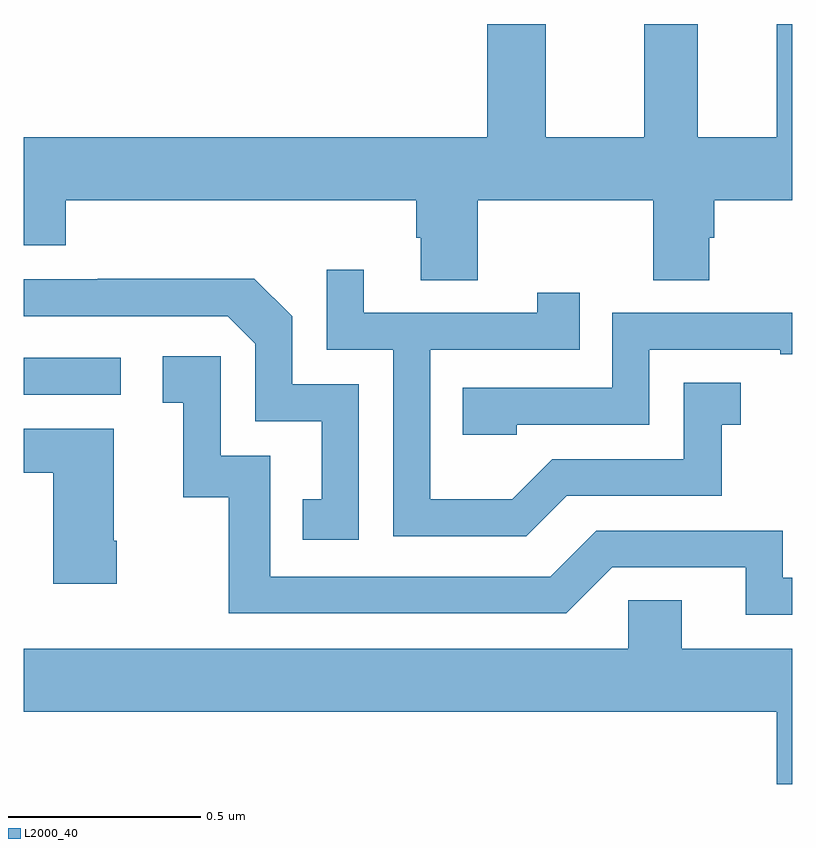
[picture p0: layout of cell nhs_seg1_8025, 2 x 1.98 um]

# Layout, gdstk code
import gdstk
lib = gdstk.Library(unit=1e-6, precision=1e-09)
def R(c, l, rs):  # rectangles x0, y0, x1, y1
    for r in rs: c.add(gdstk.rectangle(r[:2], r[2:], *l))
def P(c, l, *ps):  # polygons
    for p in ps: c.add(gdstk.Polygon(p, *l))
L2000_40 = (2000, 40)

nhs_seg1_8025 = lib.new_cell('nhs_seg1_8025')
R(nhs_seg1_8025, L2000_40, [(211,543.234,211.252,543.33)])
P(nhs_seg1_8025, L2000_40, [(212.181,543.74),(212.638,543.74),(212.638,543.532),(212.785,543.532),(212.785,543.642),(212.798,543.642),(212.798,543.74),(213,543.74),(213,544.199),(212.96,544.199),(212.96,543.904),(212.755,543.904),(212.755,544.199),(212.615,544.199),(212.615,543.904),(212.359,543.904),(212.359,544.199),(212.207,544.199),(212.207,543.904),(211,543.904),(211,543.623),(211.109,543.623),(211.109,543.74),(212.021,543.74),(212.021,543.642),(212.033,543.642),(212.033,543.532),(212.181,543.532)],
  [(212.413,542.97),(212.817,542.97),(212.817,543.155),(212.866,543.155),(212.866,543.265),(212.718,543.265),(212.718,543.066),(212.376,543.066),(212.272,542.962),(212.058,542.962),(212.058,543.351),(212.447,543.351),(212.447,543.499),(212.336,543.499),(212.336,543.447),(211.885,543.447),(211.885,543.559),(211.788,543.559),(211.788,543.351),(211.962,543.351),(211.962,542.865),(212.308,542.865)],
  [(211.872,543.261),(211.698,543.261),(211.698,543.438),(211.6,543.536),(211.192,543.536),(211.192,543.534),(211,543.534),(211,543.438),(211.53,543.438),(211.602,543.366),(211.602,543.165),(211.775,543.165),(211.775,542.961),(211.726,542.961),(211.726,542.856),(211.872,542.856)],
  [(212.283,543.156),(212.628,543.156),(212.628,543.351),(212.969,543.351),(212.969,543.339),(213,543.339),(213,543.447),(212.532,543.447),(212.532,543.252),(212.143,543.252),(212.143,543.129),(212.283,543.129)],
  [(213,542.757),(212.976,542.757),(212.976,542.88),(212.49,542.88),(212.37,542.76),(211.641,542.76),(211.641,543.075),(211.512,543.075),(211.512,543.334),(211.362,543.334),(211.362,543.213),(211.415,543.213),(211.415,542.967),(211.533,542.967),(211.533,542.664),(212.412,542.664),(212.532,542.784),(212.879,542.784),(212.879,542.661),(213,542.661)],
  [(211.242,542.854),(211.234,542.854),(211.234,543.145),(211,543.145),(211,543.031),(211.076,543.031),(211.076,542.742),(211.242,542.742)],
  [(213,542.572),(212.713,542.572),(212.713,542.699),(212.574,542.699),(212.574,542.572),(211,542.572),(211,542.408),(212.96,542.408),(212.96,542.22),(213,542.22)])

lib.write_gds('nhs_seg1_8025.gds')
